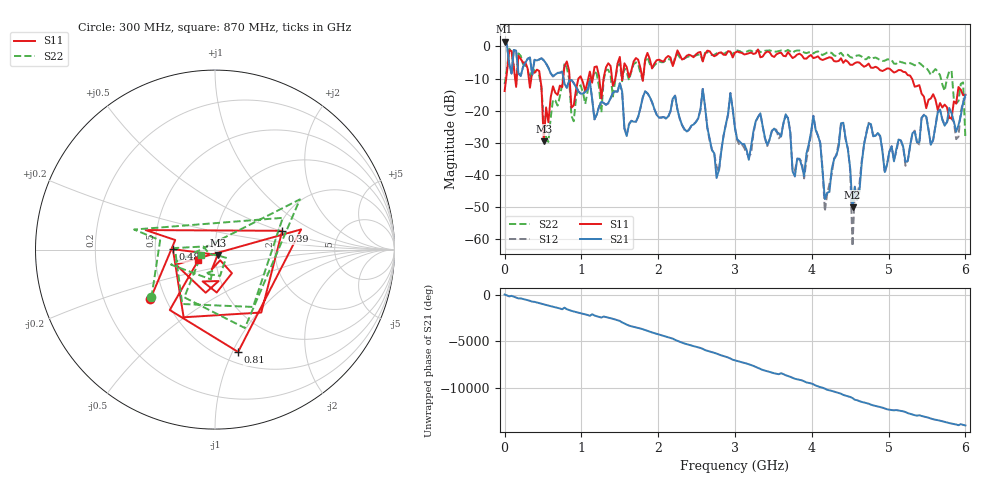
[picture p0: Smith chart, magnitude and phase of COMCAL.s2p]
!Keysight Technologies N9916A: A.08.06
!Date: Thursday, 30 May 2024 20:21:13
!Timezone: (GMT+10:00) Brisbane
!Model: N9916A
!Serial: MY53102361
!GPS Latitude:
!GPS Longitude:
!GPS TimeStamp: 0001-01-01 00:00:00Z
!GPS Seconds Since Last Read: 0
!CHECKSUM:0117562215
!Correction: S11(ON U)S21(ON U)S12(ON U)S22(ON U)
!S2P File: Measurements:S11,S21,S12,S22:
# Hz S DB R 50
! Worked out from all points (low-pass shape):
!   201 points, 30 kHz to 6 GHz, reference 50 ohm
!   highest |S21| = 1.49 dB at 30 kHz (marker M1); lowest = -50.1 dB at 4.53 GHz (marker M2)
!   |S21| within 3 dB of the highest: start of sweep to 40.47 MHz; 118.3 MHz to 151 MHz (32.77 MHz wide, 24.3 % of centre)
!   lowest |S11| = -29.6 dB at 510 MHz (marker M3), VSWR 1.07, Z = 51.4 - j3.06 ohm
!   |S11| at or under -10 dB: 464.4 MHz to 762.2 MHz (297.8 MHz wide, 48.6 % of centre); 846.5 MHz to 960.8 MHz (114.4 MHz wide, 12.7 % of centre); 5.303 GHz to end of sweep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
!   |S22| runs from -29.7 to -0.7 dB; largest |S21 - S12| = 0.055
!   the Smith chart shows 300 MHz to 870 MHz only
!   S11 on the Smith chart (normalised r, x): 300 MHz: 0.41, -0.29; 390 MHz: 2.11, +0.52; 480 MHz: 0.62, +0.00; 810 MHz: 0.61, -1.05; 870 MHz: 0.82, -0.10
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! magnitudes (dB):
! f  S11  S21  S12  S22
! 30 kHz  -13.9  1.5  1.9  -11.8
! 300 MHz  -6.9  -3.9  -3.8  -7.1
! 390 MHz  -8.2  -4.2  -4.1  -7.6
! 480 MHz  -12.6  -3.7  -3.7  -13.0
! 510 MHz  -29.6  -4.3  -4.3  -23.4
! 810 MHz  -4.7  -12.8  -12.9  -6.6
! 870 MHz  -19.0  -10.4  -10.4  -21.6
! 1.02 GHz  -11.2  -14.7  -14.5  -14.4
! 2.01 GHz  -4.1  -22.1  -22.2  -4.6
! 2.58 GHz  -4.7  -13.2  -13.2  -4.6
! 2.76 GHz  -2.7  -41.0  -37.4  -2.2
! 3 GHz  -1.9  -25.6  -25.2  -1.4
! 3.66 GHz  -3.1  -21.1  -21.6  -1.5
! 3.9 GHz  -3.8  -40.3  -41.1  -1.9
! 4.02 GHz  -3.6  -21.7  -21.6  -2.2
! 4.17 GHz  -3.9  -47.5  -51.3  -2.3
! 4.41 GHz  -5.1  -23.8  -23.8  -2.9
! 4.53 GHz  -5.7  -50.1  -62.2  -3.5
! 4.74 GHz  -5.3  -24.0  -23.8  -3.3
! 5.01 GHz  -6.9  -32.7  -32.8  -4.0
! 5.97 GHz  -15.2  -17.5  -17.3  -11.2
! 6 GHz  -15.0  -15.1  -15.8  -28.6
